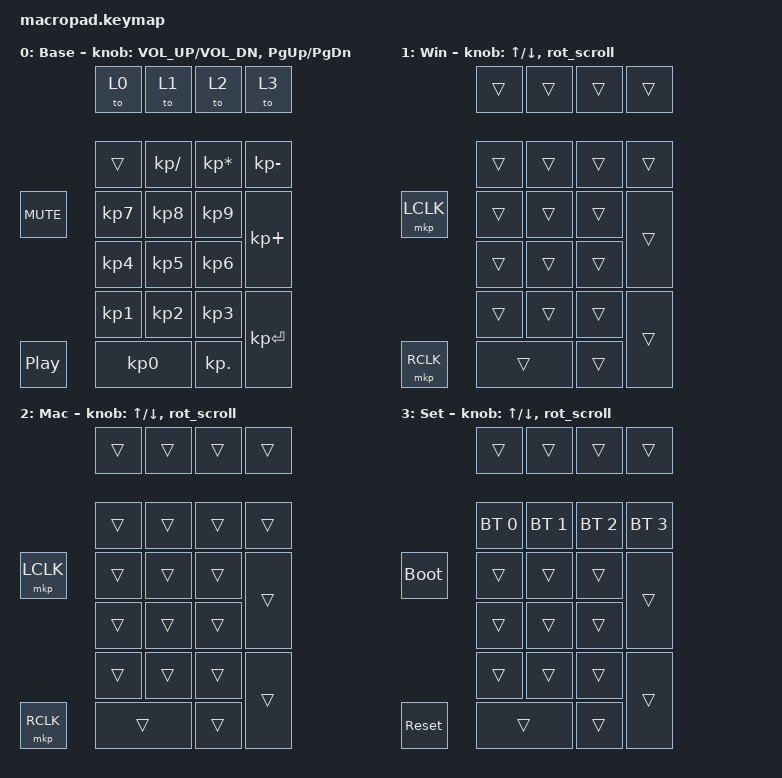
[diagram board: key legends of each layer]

#define ZMK_POINTING_DEFAULT_SCRL_VAL 35

#include <behaviors.dtsi>
#include <dt-bindings/zmk/keys.h>
#include <dt-bindings/zmk/bt.h>
#include <dt-bindings/zmk/outputs.h>

#include <dt-bindings/zmk/pointing.h> 

/ {
    behaviors {
        rot_scroll: behavior_sensor_rotate_scroll {
            compatible = "zmk,behavior-sensor-rotate";
            #sensor-binding-cells = <0>;
            bindings = <&msc SCRL_UP>, <&msc SCRL_DOWN>;
            // 
            tap-ms = <50>;
        };
    };

    keymap {
        compatible = "zmk,keymap";

        // ==========================================
        // 层级 0：Base 基础层 
        // ==========================================
        base_layer {
            display-name = "Base";
            bindings = <
                &to 0            &to 1            &to 2            &to 3
                &trans           &kp KP_DIVIDE    &kp KP_MULTIPLY  &kp KP_MINUS
                &kp KP_N7        &kp KP_N8        &kp KP_N9        &kp KP_PLUS
                &kp KP_N4        &kp KP_N5        &kp KP_N6
                &kp KP_N1        &kp KP_N2        &kp KP_N3        &kp KP_ENTER
                &kp KP_N0        &kp KP_DOT
                &kp C_MUTE       &kp C_PLAY_PAUSE
            >;
            sensor-bindings = <&inc_dec_kp C_VOL_UP C_VOL_DN &inc_dec_kp PG_UP PG_DN>;
        };

        // ==========================================
        // 层级 1：WINDOWS层
        // ==========================================
        win_layer {
            display-name = "Win";
            bindings = <
                &trans           &trans           &trans           &trans
                &trans           &trans           &trans           &trans
                &trans           &trans           &trans           &trans
                &trans           &trans           &trans
                &trans           &trans           &trans           &trans
                &trans           &trans
                &mkp LCLK        &mkp RCLK
            >;
            sensor-bindings = <&inc_dec_kp UP DOWN &rot_scroll>;
        };

        // ==========================================
        // 层级 2：MAC层 
        // ==========================================
        mac_layer {
            display-name = "Mac";
            bindings = <
                &trans           &trans           &trans           &trans
                &trans           &trans           &trans           &trans
                &trans           &trans           &trans           &trans
                &trans           &trans           &trans
                &trans           &trans           &trans           &trans
                &trans           &trans
                &mkp LCLK        &mkp RCLK
            >;
            sensor-bindings = <&inc_dec_kp UP DOWN &rot_scroll>;
        };

        // ==========================================
        // 层级 3：设置层 
        // ==========================================
        set_layer {
            display-name = "Set";
            bindings = <
                &trans           &trans           &trans           &trans
                &bt BT_SEL 0     &bt BT_SEL 1     &bt BT_SEL 2     &bt BT_SEL 3
                &trans           &trans           &trans           &trans
                &trans           &trans           &trans
                &trans           &trans           &trans           &trans
                &trans           &trans
                &bootloader      &sys_reset
            >;
            sensor-bindings = <&inc_dec_kp UP DOWN &rot_scroll>;
        };
    };
};
